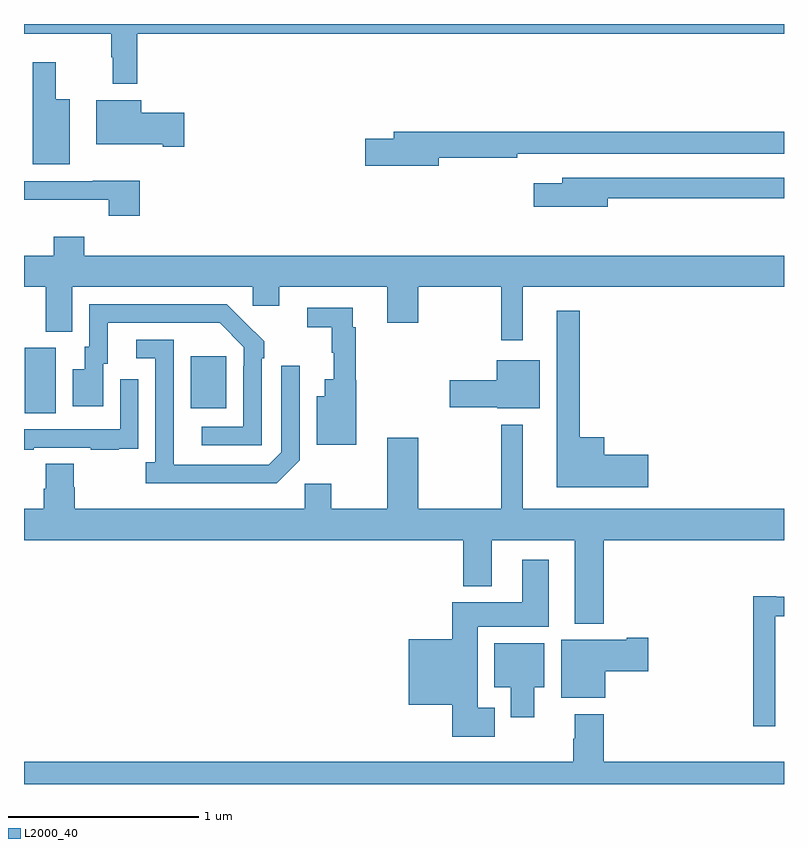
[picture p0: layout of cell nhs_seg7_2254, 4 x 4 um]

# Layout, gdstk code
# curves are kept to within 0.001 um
import gdstk
lib = gdstk.Library(unit=1e-6, precision=1e-09)
def R(c, l, rs):  # rectangles x0, y0, x1, y1
    for r in rs: c.add(gdstk.rectangle(r[:2], r[2:], *l))
def P(c, l, *ps):  # polygons
    for p in ps: c.add(gdstk.Polygon(p, *l))
L2000_40 = (2000, 40)

nhs_seg7_2254 = lib.new_cell('nhs_seg7_2254')
R(nhs_seg7_2254, L2000_40, [(259.004,999.952,259.168,1000.296), (259.877,999.977,260.065,1000.252)])
P(nhs_seg7_2254, L2000_40, [(259.595,1001.948),(263,1001.948),(263,1002),(259,1002),(259,1001.948),(259.459,1001.948),(259.459,1001.825),(259.467,1001.825),(259.467,1001.685),(259.595,1001.685)],
  [(259.24,1001.605),(259.168,1001.605),(259.168,1001.8),(259.046,1001.8),(259.046,1001.261),(259.24,1001.261)],
  [(259.843,1001.532),(259.618,1001.532),(259.618,1001.599),(259.379,1001.599),(259.379,1001.366),(259.73,1001.366),(259.73,1001.354),(259.843,1001.354)],
  [(261.184,1001.296),(261.596,1001.296),(261.596,1001.316),(263,1001.316),(263,1001.432),(260.945,1001.432),(260.945,1001.396),(260.796,1001.396),(260.796,1001.254),(261.184,1001.254)],
  [(262.072,1001.082),(263,1001.082),(263,1001.19),(261.833,1001.19),(261.833,1001.161),(261.684,1001.161),(261.684,1001.039),(262.072,1001.039)],
  [(259.61,1001.174),(259.361,1001.174),(259.361,1001.172),(259,1001.172),(259,1001.075),(259.445,1001.075),(259.445,1000.992),(259.61,1000.992)],
  [(261.625,1000.616),(263,1000.616),(263,1000.78),(259.316,1000.78),(259.316,1000.879),(259.156,1000.879),(259.156,1000.78),(259,1000.78),(259,1000.616),(259.115,1000.616),(259.115,1000.381),(259.255,1000.381),(259.255,1000.616),(260.205,1000.616),(260.205,1000.518),(260.344,1000.518),(260.344,1000.616),(260.912,1000.616),(260.912,1000.428),(261.076,1000.428),(261.076,1000.616),(261.511,1000.616),(261.511,1000.335),(261.625,1000.335)],
  [(260.25,1000.241),(260.265,1000.241),(260.265,1000.329),(260.068,1000.524),(259.344,1000.524),(259.344,1000.302),(259.319,1000.302),(259.319,1000.183),(259.256,1000.183),(259.256,999.987),(259.417,999.987),(259.417,1000.212),(259.441,1000.212),(259.441,1000.428),(260.029,1000.428),(260.157,1000.299),(260.157,1000.199),(260.154,1000.199),(260.154,999.879),(259.935,999.879),(259.935,999.783),(260.25,999.783)],
  [(260.748,1000.125),(260.747,1000.125),(260.747,1000.403),(260.729,1000.403),(260.729,1000.506),(260.49,1000.506),(260.49,1000.405),(260.619,1000.405),(260.619,1000.269),(260.63,1000.269),(260.63,1000.129),(260.582,1000.129),(260.582,1000.042),(260.54,1000.042),(260.54,999.785),(260.748,999.785)],
  [(262.285,999.734),(262.054,999.734),(262.054,999.826),(261.925,999.826),(261.925,1000.492),(261.803,1000.492),(261.803,999.563),(262.285,999.563)],
  [(260.451,999.705),(260.451,1000.201),(260.355,1000.201),(260.355,999.747),(260.289,999.681),(259.789,999.681),(259.788,1000.338),(259.59,1000.338),(259.59,1000.242),(259.692,1000.242),(259.692,999.694),(259.641,999.694),(259.641,999.584),(260.33,999.584)],
  [(261.715,1000.231),(261.488,1000.231),(261.488,1000.125),(261.24,1000.125),(261.24,999.983),(261.492,999.983),(261.492,999.977),(261.715,999.977)],
  [(259.051,999.771),(259.351,999.771),(259.351,999.759),(259.499,999.759),(259.499,999.765),(259.601,999.765),(259.601,999.874),(259.602,999.874),(259.602,1000.129),(259.506,1000.129),(259.506,999.867),(259,999.867),(259,999.759),(259.051,999.759)],
  [(262.052,999.284),(263,999.284),(263,999.448),(261.625,999.448),(261.625,999.892),(261.511,999.892),(261.511,999.448),(261.076,999.448),(261.076,999.823),(260.912,999.823),(260.912,999.448),(260.617,999.448),(260.617,999.58),(260.478,999.58),(260.478,999.448),(259.267,999.448),(259.267,999.561),(259.263,999.561),(259.263,999.686),(259.115,999.686),(259.115,999.554),(259.103,999.554),(259.103,999.448),(259,999.448),(259,999.284),(261.311,999.284),(261.311,999.041),(261.463,999.041),(261.463,999.284),(261.899,999.284),(261.899,998.843),(262.052,998.843)],
  [(261.478,998.401),(261.388,998.401),(261.388,998.828),(261.763,998.828),(261.763,999.181),(261.623,999.181),(261.623,998.956),(261.254,998.956),(261.254,998.761),(261.026,998.761),(261.026,998.417),(261.254,998.417),(261.254,998.249),(261.478,998.249)],
  [(262.953,998.882),(263,998.882),(263,998.986),(262.96,998.986),(262.96,998.989),(262.837,998.989),(262.837,998.304),(262.953,998.304)],
  [(262.06,998.593),(262.285,998.593),(262.285,998.771),(262.172,998.771),(262.172,998.758),(261.827,998.758),(261.827,998.453),(262.06,998.453)],
  [(261.685,998.51),(261.739,998.51),(261.739,998.74),(261.476,998.74),(261.476,998.51),(261.563,998.51),(261.563,998.352),(261.685,998.352)],
  [(263,998.116),(262.052,998.116),(262.052,998.368),(261.899,998.368),(261.899,998.237),(261.892,998.237),(261.892,998.116),(259,998.116),(259,998),(263,998)])

lib.write_gds('nhs_seg7_2254.gds')
